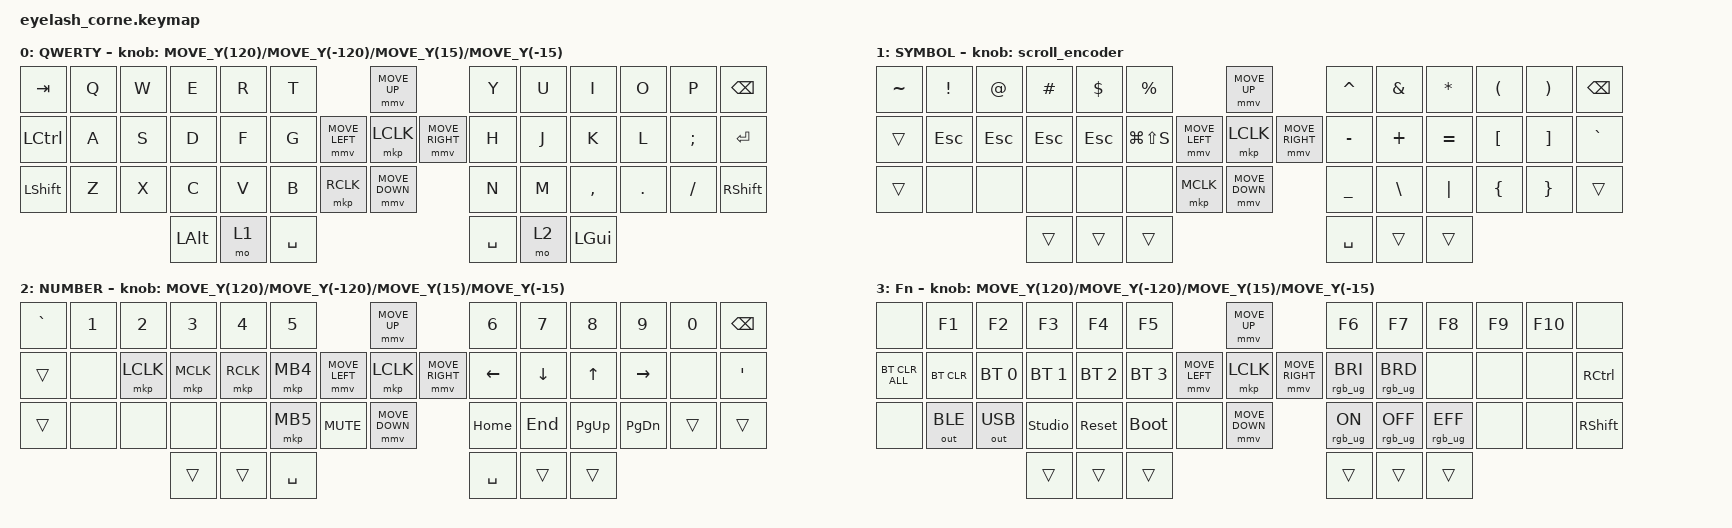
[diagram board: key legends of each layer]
#define ZMK_POINTING_DEFAULT_MOVE_VAL 1200  // 600
#define ZMK_POINTING_DEFAULT_SCRL_VAL 30   // 10 20

#include <input/processors.dtsi>
#include <zephyr/dt-bindings/input/input-event-codes.h>
#include <behaviors.dtsi>
#include <dt-bindings/zmk/bt.h>
#include <dt-bindings/zmk/keys.h>
#include <dt-bindings/zmk/outputs.h>
#include <dt-bindings/zmk/pointing.h>
#include <dt-bindings/zmk/rgb.h>

&mmv_input_listener { input-processors = <&zip_xy_scaler 2 1>; };
&msc_input_listener { input-processors = <&zip_scroll_scaler 2 1>; }; // 2 1
/* 4배 스케일 적용 */
&msc_input_listener { input-processors = <&wheel_scaler 4 1>; };


&msc {
    acceleration-exponent = <0>;      // 0
    time-to-max-speed-ms = <0>;     // 300
    delay-ms = <0>;                   // 0
    trigger-period-ms = <4>;   /* 기본 8 → 4 ms  (250 Hz) */
};

&mmv {
    time-to-max-speed-ms = <500>;
    acceleration-exponent = <1>;
    trigger-period-ms = <16>;
};

/ {
    behaviors {
        td0: td0 {
            compatible = "zmk,behavior-tap-dance";
            display-name = "Shift/Caps Lock Tap Dance";
            #binding-cells = <0>;
            bindings = <&kp LEFT_SHIFT>, <&kp CAPS>;
        };
    };

    rgb_encoder: rgb_encoder {
        compatible = "zmk,behavior-sensor-rotate";
        #sensor-binding-cells = <0>;
        bindings = <&rgb_ug RGB_BRI>, <&rgb_ug RGB_BRD>;
    };

    scroll_encoder: scroll_encoder {
        compatible = "zmk,behavior-sensor-rotate";
        #sensor-binding-cells = <0>;
        bindings = <&msc SCRL_DOWN>, <&msc SCRL_UP>;
        tap-ms = <40>;
    };

    /* ----------- BLE 전용 스크롤 (1/8) ----------- */
    scroll_ble: scroll_ble {
        compatible = "zmk,behavior-sensor-rotate-var";
        #sensor-binding-cells = <2>;
        bindings = <&msc>, <&msc>;   /* 양방향 모두 &msc 사용 */
        tap-ms = <35>;               /* 디텐트 길이 */
    };
    
    /* ----------- USB 전용 스크롤 (120) ----------- */
    scroll_usb: scroll_usb {
        compatible = "zmk,behavior-sensor-rotate-var";
        #sensor-binding-cells = <2>;
        bindings = <&msc>, <&msc>;
        tap-ms = <35>;
    };

    
    /* ---------- 자동 전환(MUX) ---------- */
    scroll_mux: scroll_mux {
        compatible = "zmk,behavior-conditional";
        #binding-cells = <0>;
        bindings = <
            &out OUT_USB &scroll_usb
            &out OUT_BLE &scroll_ble
        >;
    };

    keymap {
        compatible = "zmk,keymap";

        default_layer {
            display-name = "QWERTY";
            bindings = <
&kp TAB    &kp Q  &kp W  &kp E     &kp R  &kp T                        &mmv MOVE_UP                &kp Y        &kp U  &kp I      &kp O    &kp P     &kp BSPC
&kp LCTRL  &kp A  &kp S  &kp D     &kp F  &kp G        &mmv MOVE_LEFT  &mkp LCLK  &mmv MOVE_RIGHT  &kp H        &kp J  &kp K      &kp L    &kp SEMI  &kp ENTER
&kp LSHFT  &kp Z  &kp X  &kp C     &kp V  &kp B        &mkp RCLK       &mmv MOVE_DOWN              &kp N        &kp M  &kp COMMA  &kp DOT  &kp FSLH  &kp RSHFT
                         &kp LALT  &mo 1  &kp SPACE                                                &kp SPACE    &mo 2  &kp LGUI
            >;
            sensor-bindings = <
                &scroll_mux                       /* 자동 USB/BLE 감지 */
                    MOVE_Y(120)  MOVE_Y(-120)     /* USB 쪽 값 */
                    MOVE_Y(15)   MOVE_Y(-15)      /* BLE 쪽 값 */
            >;
        };

        lower_layer {
            display-name = "SYMBOL";
            bindings = <
&kp TILDE &kp EXCL  &kp AT    &kp HASH    &kp DLLR     &kp PRCNT                        &mmv MOVE_UP                     &kp CARET    &kp AMPS    &kp ASTRK  &kp LPAR   &kp RPAR   &kp BSPC
&trans    &kp ESC   &kp ESC   &kp ESC     &kp ESC      &kp LG(LS(S))    &mmv MOVE_LEFT  &mkp LCLK       &mmv MOVE_RIGHT  &kp MINUS    &kp PLUS    &kp EQUAL  &kp LBKT   &kp RBKT   &kp GRAVE
&trans    &none     &none     &none       &none        &none            &mkp MCLK       &mmv MOVE_DOWN                   &kp UNDER    &kp BSLH    &kp PIPE   &kp LBRC   &kp RBRC   &trans
                              &trans      &trans       &trans                                                            &kp SPACE    &trans      &trans
            >;             
            sensor-bindings = <&scroll_encoder>;
            /*LG(LS(S))  := Win(= LGUI) + Shift(= LSHIFT) + S */
        };

        raise_layer {
            display-name = "NUMBER";
            bindings = <

&kp GRAVE  &kp N1  &kp N2     &kp N3     &kp N4     &kp N5                       &mmv MOVE_UP                 &kp N6     &kp N7     &kp N8    &kp N9       &kp N0    &kp BSPC
&trans     &none   &mkp LCLK  &mkp MCLK  &mkp RCLK  &mkp MB4     &mmv MOVE_LEFT  &mkp LCLK   &mmv MOVE_RIGHT  &kp LEFT   &kp DOWN   &kp UP    &kp RIGHT    &none     &kp SQT
&trans     &none   &none      &none      &none      &mkp MB5     &kp C_MUTE      &mmv MOVE_DOWN               &kp HOME   &kp END    &kp PG_UP &kp PG_DN    &trans    &trans
                              &trans     &trans     &kp SPACE                                                 &kp SPACE  &trans     &trans
            >;

            sensor-bindings = <
                &scroll_mux                       /* 자동 USB/BLE 감지 */
                    MOVE_Y(120)  MOVE_Y(-120)     /* USB 쪽 값 */
                    MOVE_Y(15)   MOVE_Y(-15)      /* BLE 쪽 값 */
            >;
        };

        layer_3 {
            display-name = "Fn";
            bindings = <
&none           &kp F1        &kp F2        &kp F3         &kp F4          &kp F5                         &mmv MOVE_UP                  &kp F6          &kp F7            &kp F8           &kp F9       &kp F10    &none
&bt BT_CLR_ALL  &bt BT_CLR    &bt BT_SEL 0  &bt BT_SEL 1   &bt BT_SEL 2    &bt BT_SEL 3   &mmv MOVE_LEFT  &mkp LCLK  &mmv MOVE_RIGHT    &rgb_ug RGB_BRI &rgb_ug RGB_BRD   &none            &none        &none      &kp RCTRL
&none           &out OUT_BLE  &out OUT_USB  &studio_unlock &sys_reset      &bootloader    &none           &mmv MOVE_DOWN                &rgb_ug RGB_ON  &rgb_ug RGB_OFF   &rgb_ug RGB_EFF  &none        &none      &kp RSHFT
                                            &trans         &trans          &trans                                                       &trans          &trans            &trans
            >;

            sensor-bindings = <
                &scroll_mux                       /* 자동 USB/BLE 감지 */
                    MOVE_Y(120)  MOVE_Y(-120)     /* USB 쪽 값 */
                    MOVE_Y(15)   MOVE_Y(-15)      /* BLE 쪽 값 */
            >;
        };
    };

    combos {
        compatible = "zmk,combos";
        #address-cells = <1>;
        #size-cells    = <0>;

        /* MO(1) + MO(2)  →  MO(3)   (두 키 다 떼면 자동으로 레이어 3 해제) */
        combo_layer3 {
            timeout-ms = <100>;                 /* 동시에 눌렀다고 간주할 최대 지연 */
            key-positions = < 43 46 >;         /* ← ❶ 각 키의 row/col 인덱스 입력 */
            bindings = <&mo 3>;                /* ❷ 원하는 목적 레이어 번호 */
        };
    };


    /* 더 키우고, 남은 값을 추적하도록 사용자 scaler 하나 추가 */
    input_processors {
        wheel_scaler: wheel_scaler {
            compatible = "zmk,input-processor-scaler";
            #input-processor-cells = <2>;
            type  = <INPUT_EV_REL>;
            codes = <INPUT_REL_WHEEL>;
            track-remainders;               /* 작은 단위 누락 방지 */
        };
    };

};
